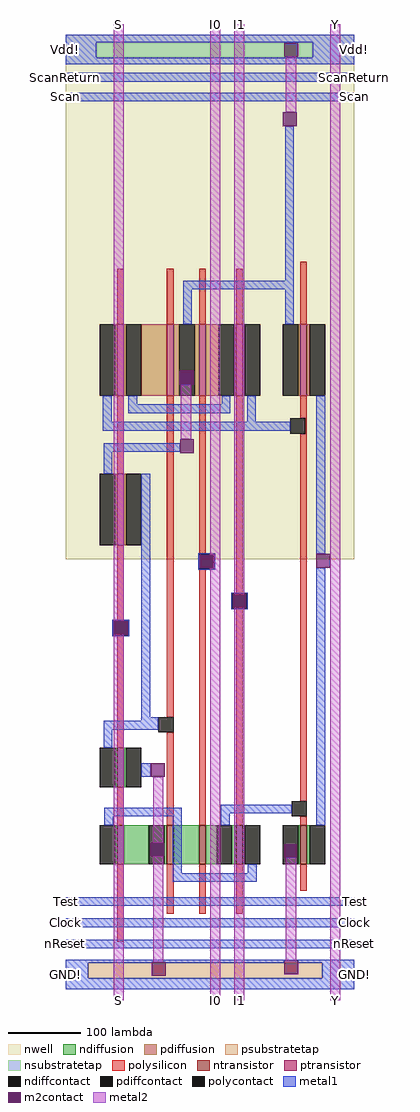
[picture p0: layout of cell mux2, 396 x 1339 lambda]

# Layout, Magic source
magic
tech tsmc180
<< nwell >>
rect 0 605 396 1324
<< polysilicon >>
rect 71 927 80 1003
rect 139 927 148 1003
rect 183 927 192 1003
rect 234 927 243 1003
rect 322 927 331 1013
rect 71 722 80 829
rect 71 521 80 624
rect 71 346 80 500
rect 139 388 148 829
rect 71 240 80 292
rect 139 240 148 367
rect 183 612 192 829
rect 183 240 192 591
rect 234 558 243 829
rect 322 798 331 829
rect 329 777 331 798
rect 234 240 243 537
rect 322 273 331 777
rect 322 240 331 252
rect 71 80 80 186
rect 139 118 148 186
rect 183 118 192 186
rect 234 118 243 186
rect 322 150 331 186
<< ndiffusion >>
rect 68 292 71 346
rect 80 292 83 346
rect 68 186 71 240
rect 80 186 114 240
rect 135 186 139 240
rect 148 186 183 240
rect 192 186 207 240
rect 228 186 234 240
rect 243 186 246 240
rect 319 186 322 240
rect 331 186 335 240
<< pdiffusion >>
rect 68 829 71 927
rect 80 829 83 927
rect 104 829 139 927
rect 148 829 156 927
rect 177 829 183 927
rect 192 829 210 927
rect 231 829 234 927
rect 243 829 246 927
rect 319 829 322 927
rect 331 829 335 927
rect 68 624 71 722
rect 80 624 83 722
<< ntransistor >>
rect 71 292 80 346
rect 71 186 80 240
rect 139 186 148 240
rect 183 186 192 240
rect 234 186 243 240
rect 322 186 331 240
<< ptransistor >>
rect 71 829 80 927
rect 139 829 148 927
rect 183 829 192 927
rect 234 829 243 927
rect 322 829 331 927
rect 71 624 80 722
<< polycontact >>
rect 65 500 86 521
rect 127 367 148 388
rect 183 591 204 612
rect 308 777 329 798
rect 228 537 249 558
rect 310 252 331 273
<< ndiffcontact >>
rect 47 292 68 346
rect 83 292 104 346
rect 47 186 68 240
rect 114 186 135 240
rect 207 186 228 240
rect 246 186 267 240
rect 298 186 319 240
rect 335 186 356 240
<< pdiffcontact >>
rect 47 829 68 927
rect 83 829 104 927
rect 156 829 177 927
rect 210 829 231 927
rect 246 829 267 927
rect 298 829 319 927
rect 335 829 356 927
rect 47 624 68 722
rect 83 624 104 722
<< psubstratetap >>
rect 31 30 352 51
<< nsubstratetap >>
rect 42 1293 339 1314
<< metal1 >>
rect 0 1314 396 1324
rect 0 1293 42 1314
rect 339 1293 396 1314
rect 0 1284 396 1293
rect 0 1260 396 1272
rect 0 1233 396 1245
rect 301 987 313 1199
rect 161 975 313 987
rect 161 927 173 975
rect 301 927 313 975
rect 51 793 63 829
rect 86 817 98 829
rect 214 817 226 829
rect 86 805 226 817
rect 249 793 261 829
rect 51 781 308 793
rect 52 752 157 764
rect 52 722 64 752
rect 64 521 87 522
rect 64 500 65 521
rect 86 500 87 521
rect 64 499 87 500
rect 104 388 116 722
rect 182 612 205 613
rect 182 591 183 612
rect 204 591 205 612
rect 182 590 205 591
rect 344 612 356 829
rect 227 558 250 559
rect 227 537 228 558
rect 249 537 250 558
rect 227 536 250 537
rect 104 383 127 388
rect 52 371 127 383
rect 52 346 64 371
rect 104 306 117 325
rect 53 252 159 264
rect 53 240 65 252
rect 147 174 159 252
rect 213 256 310 268
rect 213 240 225 256
rect 344 240 356 593
rect 250 174 262 186
rect 147 162 262 174
rect 0 129 396 141
rect 0 100 396 112
rect 0 71 396 83
rect 0 54 396 55
rect 0 52 300 54
rect 0 51 118 52
rect 137 51 300 52
rect 319 51 396 54
rect 0 30 31 51
rect 352 30 396 51
rect 0 15 396 30
<< m2contact >>
rect 300 1294 319 1313
rect 298 1199 317 1218
rect 156 844 175 863
rect 157 750 176 769
rect 66 501 85 520
rect 184 592 203 611
rect 344 593 363 612
rect 229 538 248 557
rect 117 306 136 325
rect 116 197 135 216
rect 299 195 318 214
rect 118 51 137 52
rect 300 51 319 54
rect 118 33 137 51
rect 300 35 319 51
<< metal2 >>
rect 66 520 80 1339
rect 158 769 172 844
rect 198 611 212 1339
rect 203 592 212 611
rect 66 0 80 501
rect 120 216 134 306
rect 120 52 134 197
rect 198 0 212 592
rect 231 557 245 1339
rect 302 1218 316 1294
rect 231 0 245 538
rect 302 54 316 195
rect 363 0 377 1339
<< labels >>
rlabel metal1 0 1260 0 1272 3 ScanReturn
rlabel metal1 0 129 0 141 3 Test
rlabel metal1 0 100 0 112 3 Clock
rlabel metal1 0 71 0 83 3 nReset
rlabel metal1 0 1233 0 1245 3 Scan
rlabel metal2 66 1339 80 1339 5 S
rlabel metal2 66 0 80 0 1 S
rlabel metal2 231 1339 245 1339 5 I1
rlabel metal2 231 0 245 0 1 I1
rlabel metal2 198 0 212 0 1 I0
rlabel metal2 198 1339 212 1339 5 I0
rlabel metal1 396 1233 396 1245 7 Scan
rlabel metal1 396 1260 396 1272 7 ScanReturn
rlabel metal1 396 129 396 141 7 Test
rlabel metal1 396 100 396 112 7 Clock
rlabel metal1 396 71 396 83 7 nReset
rlabel metal2 363 0 377 0 1 Y
rlabel metal2 363 1339 377 1339 5 Y
rlabel metal1 0 1284 0 1324 3 Vdd!
rlabel metal1 396 1284 396 1324 7 Vdd!
rlabel metal1 0 15 0 55 3 GND!
rlabel metal1 396 15 396 55 7 GND!
<< end >>
